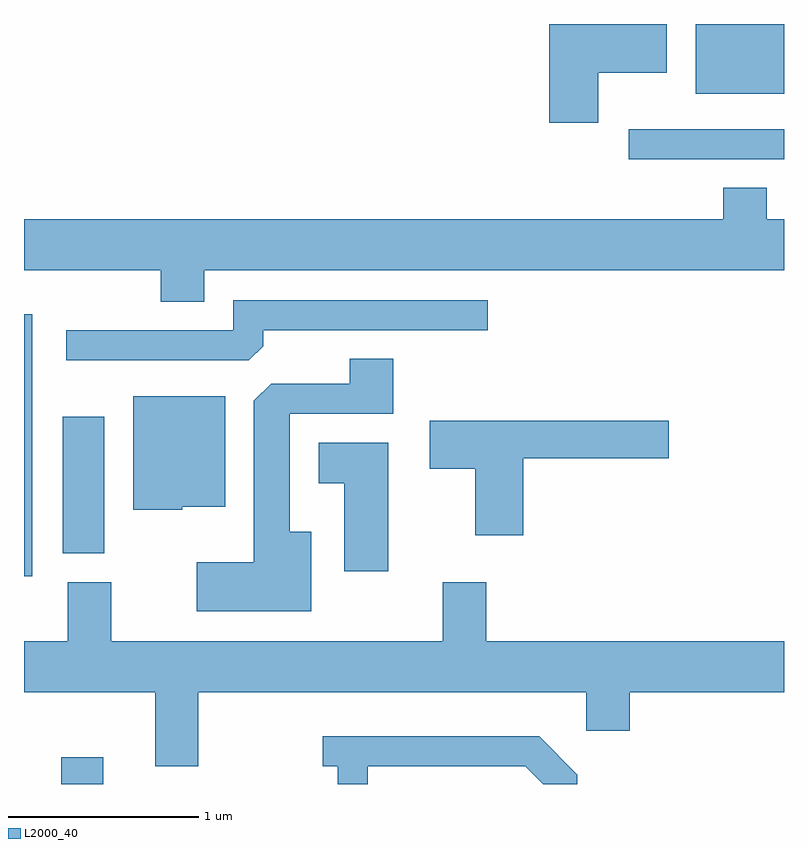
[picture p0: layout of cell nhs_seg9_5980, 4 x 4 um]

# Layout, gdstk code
import gdstk
lib = gdstk.Library(unit=1e-6, precision=1e-09)
def R(c, l, rs):  # rectangles x0, y0, x1, y1
    for r in rs: c.add(gdstk.rectangle(r[:2], r[2:], *l))
def P(c, l, *ps):  # polygons
    for p in ps: c.add(gdstk.Polygon(p, *l))
L2000_40 = (2000, 40)

nhs_seg9_5980 = lib.new_cell('nhs_seg9_5980')
R(nhs_seg9_5980, L2000_40, [(361.806,2002.432,362.029,2002.574), (361.611,2003.526,361.654,2004.904), (361.816,2003.646,362.034,2004.364), (364.793,2005.721,365.611,2005.879), (365.146,2006.066,365.611,2006.432)])
P(nhs_seg9_5980, L2000_40, [(364.634,2006.176),(364.994,2006.176),(364.994,2006.432),(364.376,2006.432),(364.376,2005.911),(364.634,2005.911)],
  [(362.559,2005.136),(365.611,2005.136),(365.611,2005.404),(365.519,2005.404),(365.519,2005.569),(365.291,2005.569),(365.291,2005.404),(361.611,2005.404),(361.611,2005.136),(362.331,2005.136),(362.331,2004.971),(362.559,2004.971)],
  [(362.869,2004.737),(362.869,2004.821),(364.053,2004.821),(364.053,2004.979),(362.711,2004.979),(362.711,2004.819),(361.833,2004.819),(361.833,2004.661),(362.794,2004.661)],
  [(363.124,2003.759),(363.009,2003.759),(363.009,2004.381),(363.554,2004.381),(363.554,2004.669),(363.326,2004.669),(363.326,2004.539),(362.912,2004.539),(362.821,2004.449),(362.821,2003.599),(362.521,2003.599),(362.521,2003.341),(363.124,2003.341)],
  [(362.445,2003.891),(362.669,2003.891),(362.669,2004.474),(362.186,2004.474),(362.186,2003.876),(362.445,2003.876)],
  [(364.239,2004.146),(365.004,2004.146),(365.004,2004.344),(363.746,2004.344),(363.746,2004.091),(363.986,2004.091),(363.986,2003.741),(364.239,2003.741)],
  [(363.529,2004.229),(363.161,2004.229),(363.161,2004.016),(363.296,2004.016),(363.296,2003.551),(363.529,2003.551)],
  [(362.529,2002.916),(364.571,2002.916),(364.571,2002.711),(364.799,2002.711),(364.799,2002.916),(365.611,2002.916),(365.611,2003.184),(364.044,2003.184),(364.044,2003.494),(363.816,2003.494),(363.816,2003.184),(362.069,2003.184),(362.069,2003.494),(361.841,2003.494),(361.841,2003.184),(361.611,2003.184),(361.611,2002.916),(362.301,2002.916),(362.301,2002.526),(362.529,2002.526)],
  [(363.419,2002.526),(364.249,2002.526),(364.343,2002.432),(364.524,2002.432),(364.524,2002.482),(364.322,2002.684),(363.183,2002.684),(363.183,2002.526),(363.261,2002.526),(363.261,2002.432),(363.419,2002.432)])

lib.write_gds('nhs_seg9_5980.gds')
